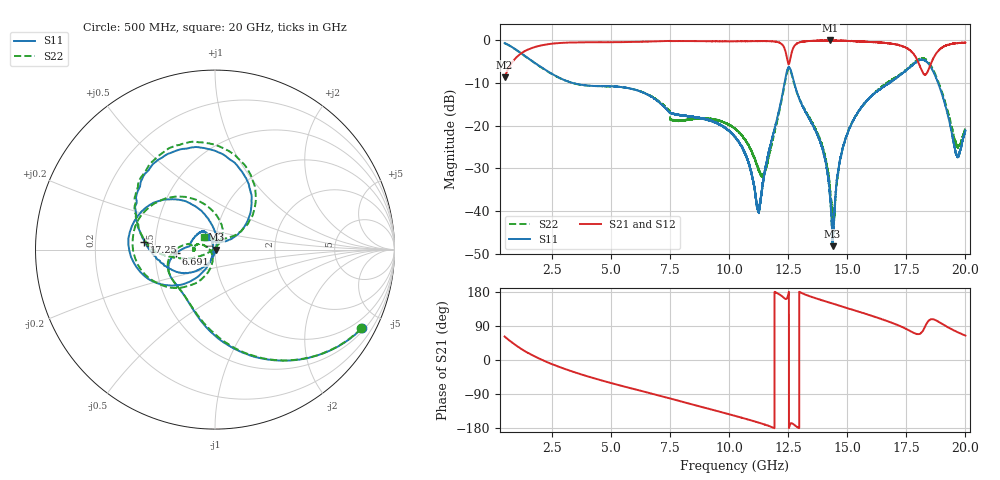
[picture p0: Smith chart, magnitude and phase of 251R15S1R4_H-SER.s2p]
!{251R15S1R4}
!Johanson Technology Inc.
!www.johansontechnology.com
!Test Board Conditions:
!Substrate Type  RO4350B
!Substrate Thickness  20 mil
!Substrate Dk  3.66
!TL Type: GCPW
!TL Trace Width  34 mil
!TL Gap  10 mil
!Electrode orientation  Horizontal
!DUT TOPOLOGY	SERIES
!Mounting Pad LxW  26x52 mil
! Created Thu Mar 12 16:35:18 2020
# mhz S ma R 50
! 2 Port Network Data from SP1.SP block
! freq  magS11  angS11  magS21  angS21  magS12  angS12  magS22  angS22
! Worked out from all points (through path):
!   19501 points, 500 MHz to 20 GHz, reference 50 ohm
!   highest |S21| = -0.02 dB at 14.28 GHz (marker M1); lowest = -8.7 dB at 500 MHz (marker M2)
!   group delay of S21, straight-line fit = 46.8 ps
!   lowest |S11| = -48.2 dB at 14.38 GHz (marker M3), VSWR 1.01, Z = 50.4 + j0.0137 ohm
!   |S11| at or under -10 dB: 3.396 GHz to 12.35 GHz (8.949 GHz wide, 114 % of centre); 12.76 GHz to 16.79 GHz (4.036 GHz wide, 27.3 % of centre); 18.85 GHz to end of sweep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
!   |S22| runs from -43.3 to -0.7 dB; largest |S21 - S12| = 0.018
!   S11 on the Smith chart (normalised r, x): 500 MHz: 0.61, -3.88; 6.691 GHz: 0.64, -0.03; 17.25 GHz: 0.43, +0.04; 20 GHz: 0.89, +0.13
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500  0.9283 -28.2  0.369 61.9  0.37 62.0  0.9263 -28.3
1933  0.5097 -86.0  0.8579 4.5  0.858 4.6  0.5056 -85.4
3750  0.3012 -127.0  0.9494 -38.2  0.9494 -38.1  0.3002 -127.7
6691  0.2196 -174.4  0.9697 -88.3  0.9704 -88.2  0.2219 -179.4
7000  0.1921 -179.1  0.9756 -93.3  0.9763 -93.2  0.1963 175.3
10250  0.07335 112.1  0.9746 -147.4  0.9759 -147.5  0.09169 160.5
11245  0.009618 -179.0  0.9807 -165.1  0.9801 -165.1  0.0303 -178.3
11554  0.03377 -116.4  0.9794 -171.3  0.9793 -171.2  0.03174 -122.8
12162  0.1735 -121.8  0.9323 171.9  0.9342 171.9  0.1629 -111.7
12496  0.4747 -178.1  0.5394 170.2  0.5433 170.0  0.4541 -176.9
12706  0.3563 128.3  0.803 -168.7  0.8051 -168.9  0.3473 122.0
13500  0.1061 91.7  0.9858 166.4  0.9828 166.5  0.1105 66.9
14016  0.04488 78.0  0.993 156.0  0.9911 156.0  0.04926 56.3
14278  0.01465 59.8  0.9972 150.9  0.9932 150.9  0.0174 66.5
14377  0.003876 2.0  0.9936 149.0  0.994 148.9  0.008099 104.6
15040  0.0853 -116.3  0.9836 136.4  0.9847 136.1  0.08637 -156.5
16750  0.3149 -167.9  0.927 101.5  0.9172 101.1  0.3279 -177.3
17250  0.3952 173.8  0.8708 89.2  0.8662 88.8  0.4009 171.7
18276  0.5837 102.7  0.3954 85.8  0.3929 86.7  0.6077 99.5
18746  0.3694 57.0  0.6898 104.9  0.6918 105.0  0.3873 54.4
19633  0.04616 71.2  0.9259 74.4  0.9254 74.9  0.05836 73.8
20000  0.08786 125.7  0.9373 64.4  0.9355 64.5  0.09406 129.5
